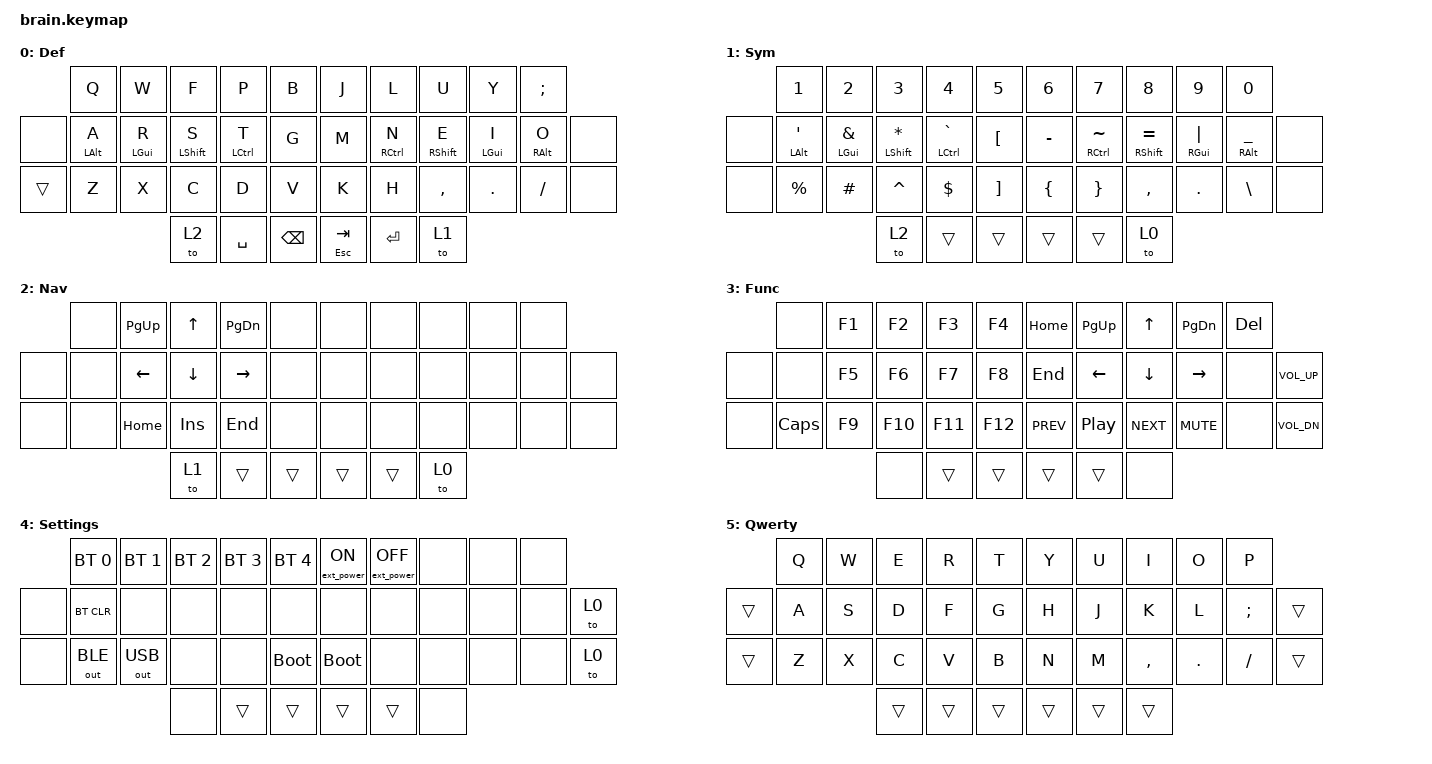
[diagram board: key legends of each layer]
/*
 * Copyright (c) 2020 The ZMK Contributors
 *
 * SPDX-License-Identifier: MIT
 */

#include "swe_keys.h"
#include <behaviors.dtsi>
#include <dt-bindings/zmk/bt.h>
#include <dt-bindings/zmk/ext_power.h>
#include <dt-bindings/zmk/keys.h>
#include <dt-bindings/zmk/outputs.h>

#define DEFAULT     0
#define GAMING      1
#define SYMBOLS_SWE 2
#define FUNC        3
#define NUMBER      4
#define SETTINGS    5

/ {
    behaviors {
        hm: homerow_mods {
            compatible = "zmk,behavior-hold-tap";
            label = "HOMEROW_MODS";
            #binding-cells = <2>;
            tapping-term-ms = <200>;
            quick-tap-ms = <0>;
            flavor = "tap-preferred";
            bindings = <&kp>, <&kp>;
        };

        hs: homerow_mods_slow {
            compatible = "zmk,behavior-hold-tap";
            label = "HOMEROW_MODS_SLOW";
            #binding-cells = <2>;
            tapping-term-ms = <300>;
            quick-tap-ms = <0>;
            flavor = "tap-preferred";
            bindings = <&kp>, <&kp>;
        };
    };

    cond_layers {
        compatible = "zmk,conditional-layers";

        // Define SETTINGS layer as tri-state

        func_tristate {
            if-layers = <1 3>;
            then-layer = <4>;
        };
    };

    /*           40 Keys
╭─────────────────╮ ╭─────────────────╮
│    0  1  2  3  4│ │ 5  6  7  8  9   │
│10 11 12 13 14 15│ │16 17 18 19 20 21│
│22 23 24 25 26 27│ │28 29 30 31 32 33│
╰────────╮34 35 36│ │37 38 39╭────────╯
         ╰────────╯ ╰────────╯       */
    /*    combos {
        compatible = "zmk,combos";

        combo_esc {
            timeout-ms = <50>;
            key-positions = <0 1>;
            bindings = <&kp ESC>;
        };
        combo_tab {
            timeout-ms = <50>;
            key-positions = <10 11>;
            bindings = <&kp TAB>;
        };
        combo_ralt {
            timeout-ms = <50>;
            key-positions = <17 16>;
            bindings = <&kp RALT>;
        };
        combo_lalt {
            timeout-ms = <50>;
            key-positions = <11 12>;
            bindings = <&kp LALT>;
        };
        combo_lgui {
            timeout-ms = <50>;
            key-positions = <12 13>;
            bindings = <&kp LGUI>;
        };
        combo_rgui {
            timeout-ms = <50>;
            key-positions = <17 18>;
            bindings = <&kp RGUI>;
        };
    }; */

    combos {
        compatible = "zmk,combos";

        Qwerty {
            bindings = <&to 5>;
            key-positions = <15 16>;
            layers = <0>;
        };
    };

    keymap {
        compatible = "zmk,keymap";

        Def {
            bindings = <
        &kp Q           &kp W           &kp F         &kp P        &kp B          &kp J           &kp L        &kp U         &kp Y           &kp SEMICOLON
&none   &hs LEFT_ALT A  &hm LEFT_GUI R  &hm LSHIFT S  &hm LCTRL T  &kp G          &kp M           &hm RCTRL N  &hm RSHIFT E  &hm LEFT_GUI I  &hs RIGHT_ALT O  &none
&trans  &kp Z           &kp X           &kp C         &kp D        &kp V          &kp K           &kp H        &kp COMMA     &kp DOT         &kp SLASH        &none
                                        &to 2         &kp SPACE    &kp BACKSPACE  &mt ESCAPE TAB  &kp ENTER    &to 1
            >;
        };

        Sym {
            bindings = <
       &kp N1                   &kp N2                  &kp N3               &kp N4           &kp N5             &kp N6          &kp N7           &kp N8            &kp N9              &kp N0
&none  &hs LEFT_ALT APOSTROPHE  &hm LEFT_GUI AMPERSAND  &hm LSHIFT ASTERISK  &hm LCTRL GRAVE  &kp LEFT_BRACKET   &kp MINUS       &hm RCTRL TILDE  &hm RSHIFT EQUAL  &hm RIGHT_GUI PIPE  &hm RIGHT_ALT UNDERSCORE  &none
&none  &kp PERCENT              &kp POUND               &kp CARET            &kp DOLLAR       &kp RIGHT_BRACKET  &kp LEFT_BRACE  &kp RIGHT_BRACE  &kp COMMA         &kp PERIOD          &kp BACKSLASH             &none
                                                        &to 2                &trans           &trans             &trans          &trans           &to 0
            >;
        };

        Nav {
            bindings = <
       &none  &kp PAGE_UP     &kp UP_ARROW    &kp PAGE_DOWN    &none   &none   &none   &none  &none  &none
&none  &none  &kp LEFT_ARROW  &kp DOWN_ARROW  &kp RIGHT_ARROW  &none   &none   &none   &none  &none  &none  &none
&none  &none  &kp HOME        &kp INSERT      &kp END          &none   &none   &none   &none  &none  &none  &none
                              &to 1           &trans           &trans  &trans  &trans  &to 0
            >;
        };

        Func {
            bindings = <
       &none     &kp F1  &kp F2   &kp F3   &kp F4   &kp HOME    &kp PG_UP  &kp UP      &kp PG_DN   &kp DEL
&none  &none     &kp F5  &kp F6   &kp F7   &kp F8   &kp END     &kp LEFT   &kp DOWN    &kp RIGHT   &none    &kp C_VOL_UP
&none  &kp CAPS  &kp F9  &kp F10  &kp F11  &kp F12  &kp C_PREV  &kp C_PP   &kp C_NEXT  &kp K_MUTE  &none    &kp C_VOL_DN
                         &none    &trans   &trans   &trans      &trans     &none
            >;
        };

        Settings {
            bindings = <
       &bt BT_SEL 0  &bt BT_SEL 1  &bt BT_SEL 2  &bt BT_SEL 3  &bt BT_SEL 4  &ext_power EP_ON  &ext_power EP_OFF  &none  &none  &none
&none  &bt BT_CLR    &none         &none         &none         &none         &none             &none              &none  &none  &none  &to 0
&none  &out OUT_BLE  &out OUT_USB  &none         &none         &bootloader   &bootloader       &none              &none  &none  &none  &to 0
                                   &none         &trans        &trans        &trans            &trans             &none
            >;
        };

        Qwerty {
            bindings = <
        &kp Q  &kp W  &kp E   &kp R   &kp T   &kp Y   &kp U   &kp I      &kp O    &kp P
&trans  &kp A  &kp S  &kp D   &kp F   &kp G   &kp H   &kp J   &kp K      &kp L    &kp SEMI  &trans
&trans  &kp Z  &kp X  &kp C   &kp V   &kp B   &kp N   &kp M   &kp COMMA  &kp DOT  &kp FSLH  &trans
                      &trans  &trans  &trans  &trans  &trans  &trans
            >;
        };
    };
};
